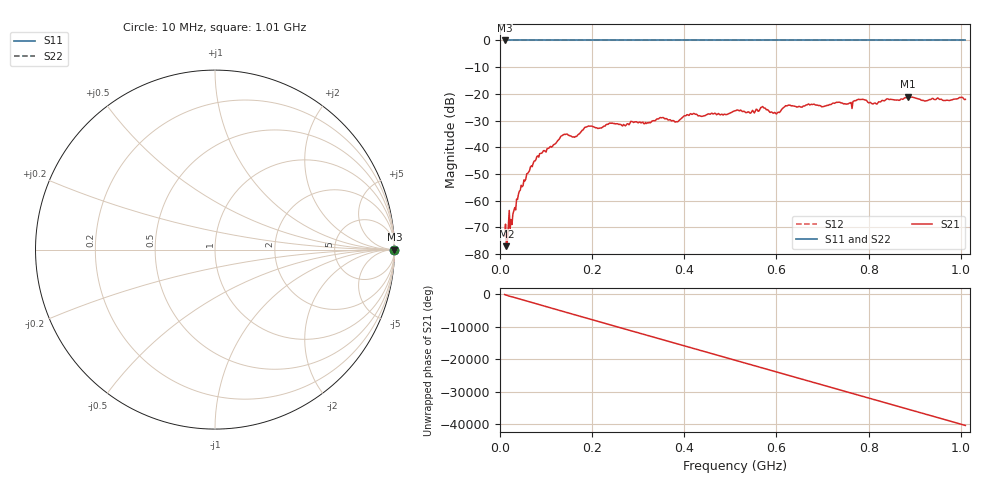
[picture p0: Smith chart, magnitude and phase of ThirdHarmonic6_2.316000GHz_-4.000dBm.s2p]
! 8/17/2025 3:14:56 AM
! C:\ANRITSUVNA\TEMP\TEMP.S2P
! CHANNEL.1
! TR.MEASUREMENT
! RAW.DATA
! RF.CORRECTION.OFF
! AVERAGING.OFF
! IF.BANDWIDTH: 5KHZ
! SWEEPTYPE:  FREQ.SWEEP(Linear)
! Reference Plane Port Info
! PORT:  PORT1  PORT2
! DISTANCE:  0  m  0  m
! TIME:  0  s  0  s
! PHASE.OFFSET:  0  deg.  0  deg.
! LOSS:  0  dB  0  dB
! REF.LOSS:  0  dB  0  dB
! REF.FREQ:  0  Hz  0  Hz
! Power Info
! POWER:  -20  dBm  -20  dBm
! EFF.POWER:  -20  dBm  -20  dBm
! SOURCE.ATTEN:  0  dB  0  dB
! TEST.ATTEN:  0  dB  0  dB
# GHZ S RI R 50.0
! FREQ.GHZ  S11RE  S11IM  S21RE  S21IM  S12RE  S12IM  S22RE  S22IM
!; PortSelection: Port_12
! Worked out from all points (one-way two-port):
!   501 points, 10 MHz to 1.01 GHz, reference 50 ohm
!   highest |S21| = -21.04 dB at 886 MHz (marker M1); lowest = -77.0 dB at 14 MHz (marker M2)
!   lowest |S11| = 0.0 dB at 10 MHz (marker M3)
!   |S11| at or under -10 dB: nowhere
!   |S22| runs from 0.0 to 0.0 dB; largest |S21 - S12| = 1.1
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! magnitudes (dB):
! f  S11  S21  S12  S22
! 10 MHz  0.0  -73.3  0.0  0.0
! 14 MHz  0.0  -77.0  0.0  0.0
! 44 MHz  0.0  -56.1  0.0  0.0
! 78 MHz  0.0  -44.6  0.0  0.0
! 136 MHz  0.0  -35.5  0.0  0.0
! 162 MHz  0.0  -36.3  0.0  0.0
! 178 MHz  0.0  -33.7  0.0  0.0
! 344 MHz  0.0  -29.4  0.0  0.0
! 384 MHz  0.0  -30.4  0.0  0.0
! 416 MHz  0.0  -27.7  0.0  0.0
! 510 MHz  0.0  -26.3  0.0  0.0
! 542 MHz  0.0  -27.1  0.0  0.0
! 570 MHz  0.0  -24.7  0.0  0.0
! 598 MHz  0.0  -27.2  0.0  0.0
! 624 MHz  0.0  -24.4  0.0  0.0
! 678 MHz  0.0  -24.0  0.0  0.0
! 760 MHz  0.0  -23.4  0.0  0.0
! 782 MHz  0.0  -22.1  0.0  0.0
! 814 MHz  0.0  -23.4  0.0  0.0
! 844 MHz  0.0  -22.1  0.0  0.0
! 886 MHz  0.0  -21.0  0.0  0.0
! 1.01 GHz  0.0  -22.1  0.0  0.0
